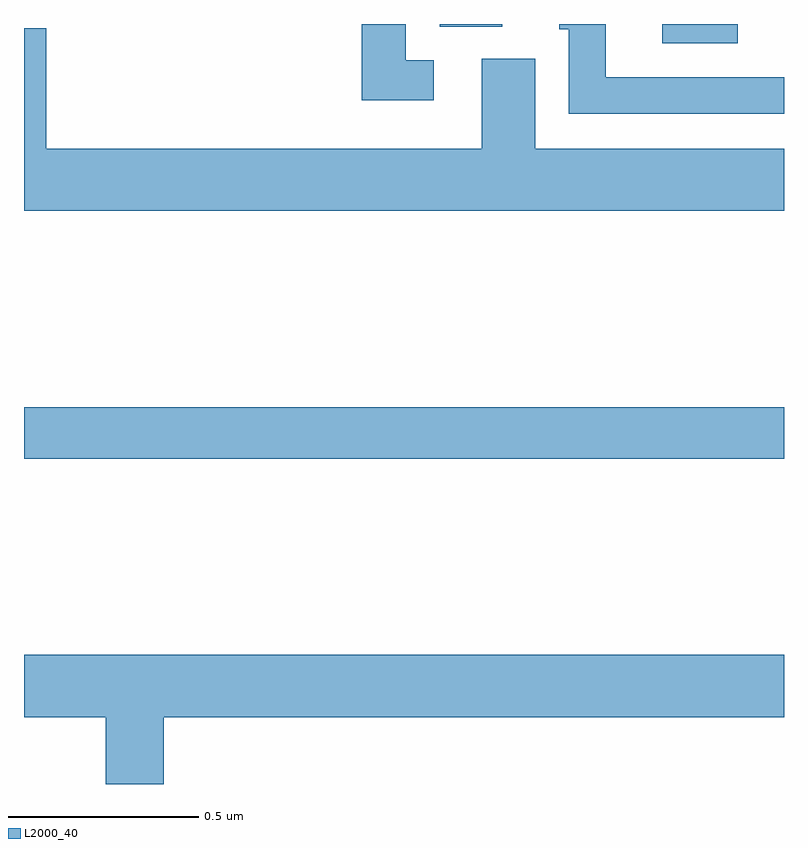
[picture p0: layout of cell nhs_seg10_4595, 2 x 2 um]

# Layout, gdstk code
import gdstk
lib = gdstk.Library(unit=1e-6, precision=1e-09)
def R(c, l, rs):  # rectangles x0, y0, x1, y1
    for r in rs: c.add(gdstk.rectangle(r[:2], r[2:], *l))
def P(c, l, *ps):  # polygons
    for p in ps: c.add(gdstk.Polygon(p, *l))
L2000_40 = (2000, 40)

nhs_seg10_4595 = lib.new_cell('nhs_seg10_4595')
R(nhs_seg10_4595, L2000_40, [(168,1274.356,170,1274.492), (169.68,1275.45,169.878,1275.5), (169.094,1275.493,169.258,1275.5)])
P(nhs_seg10_4595, L2000_40, [(169.078,1275.405),(169.005,1275.405),(169.005,1275.5),(168.889,1275.5),(168.889,1275.3),(169.078,1275.3)],
  [(170,1275.36),(169.531,1275.36),(169.531,1275.5),(169.409,1275.5),(169.409,1275.486),(169.434,1275.486),(169.434,1275.264),(170,1275.264)],
  [(170,1275.172),(169.345,1275.172),(169.345,1275.408),(169.205,1275.408),(169.205,1275.172),(168.058,1275.172),(168.058,1275.489),(168,1275.489),(168,1275.008),(170,1275.008)],
  [(168.368,1273.676),(170,1273.676),(170,1273.84),(168,1273.84),(168,1273.676),(168.215,1273.676),(168.215,1273.5),(168.368,1273.5)])

lib.write_gds('nhs_seg10_4595.gds')
